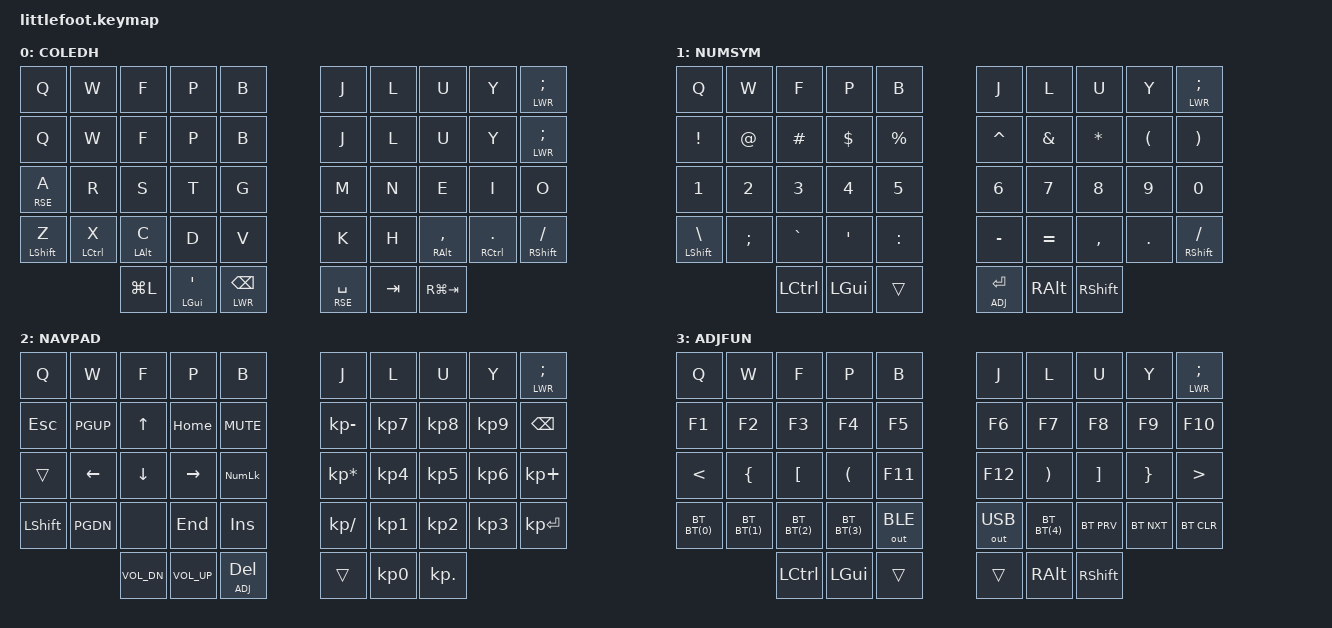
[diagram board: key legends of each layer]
#include <behaviors.dtsi>
#include <dt-bindings/zmk/keys.h>
#include <dt-bindings/zmk/bt.h>
#include <dt-bindings/zmk/outputs.h>

#define DEF 0
#define LWR 1
#define RSE 2
#define ADJ 3
#define SPEC 4

#define BT(n) BT_SEL n

// Using layer taps on thumbs, having quick tap as well helps w/ repeating space/backspace
&lt { quick_tap_ms = <200>; };

/ {
  behaviors {
        hm: homerow_mods {
            compatible = "zmk,behavior-hold-tap";
            label = "homerow mods";
            #binding-cells = <2>;
            tapping-term-ms = <200>;
            flavor = "tap-preferred";
            bindings = <&kp>, <&kp>;
        };
  };

  chosen {
    zmk,matrix_transform = &default_transform;
  };
};

/ {
        keymap {
                compatible = "zmk,keymap";

                default_layer {
                        label = "COLEDH";
// -----------------------------------------------------------------------------------------
// |  Q  |  W  |  F  |  P  |  B  |    |  J  |  L  |  U  |  Y  |LOW-;|
// |RSE-A|  R  |  S  |  T  |  G  |    |  M  |  N  |  E  |  I  |  O  |
// |SFT-Z|CTL-X|ALT-C|  D  |  V  |    |  K  |  H  |ALT-,|CTL-.|SFT-/|
//             | LOCK|GUI-'| LOW-BS||RSE-SP | TAB |G-TAB|
                        bindings = <
    &kp Q          &kp W          &kp F          &kp P          &kp B                    &kp J          &kp L          &kp U          &kp Y          &lt LWR SEMI
    &kp Q          &kp W          &kp F          &kp P          &kp B                    &kp J          &kp L          &kp U          &kp Y          &lt LWR SEMI
    &lt RSE A      &kp R          &kp S          &kp T          &kp G                    &kp M          &kp N          &kp E          &kp I          &kp O
    &hm LSHFT Z    &hm LCTRL X    &hm LALT C     &kp D          &kp V                    &kp K          &kp H          &hm RALT COMMA &hm RCTRL DOT  &hm RSHFT FSLH
                                  &kp LG(L)      &hm LGUI SQT   &lt LWR BSPC             &lt RSE SPACE  &kp TAB        &kp RG(TAB)
                        >;
                };

                lower_layer {
                        label = "NUMSYM";
// -----------------------------------------------------------------------------------------
// |  !  |  @  |  #  |  $  |  %  |    |  ^  |  &  |  *  |  (  |  )  |
// |  1  |  2  |  3  |  4  |  5  |    |  6  |  7  |  8  |  9  |  0  |
// |SFT-\| ; : | ` ~ | ' " |  :  |    | - _ | = + |  ,  |  .  |SFT-/|
//             |BRI_-|BRI_+|       ||ADJ-ENT|     |     |
                        bindings = <
    &kp Q          &kp W          &kp F          &kp P          &kp B                    &kp J          &kp L          &kp U          &kp Y          &lt LWR SEMI
    &kp EXCL       &kp AT         &kp HASH       &kp DLLR       &kp PRCNT                &kp CARET      &kp AMPS       &kp STAR       &kp LPAR       &kp RPAR
    &kp N1         &kp N2         &kp N3         &kp N4         &kp N5                   &kp N6         &kp N7         &kp N8         &kp N9         &kp N0
    &hm LSHFT BSLH &kp SEMI       &kp GRAVE      &kp SQT        &kp COLON                &kp MINUS      &kp EQUAL      &kp COMMA      &kp DOT        &hm RSHFT FSLH
                                  &kp LCTRL      &kp LGUI       &trans                   &lt ADJ RET    &kp RALT       &kp RSHFT
                        >;
                };

                raise_layer {
                        label = "NAVPAD";
// -----------------------------------------------------------------------------------------
// | ESC | PGUP|  UP | HOME| MUTE|    | KP- | KP7 | KP8 | KP9 | BKSP|
// |     | LEFT| DOWN|RIGHT|NUMLK|    | KP* | KP4 | KP5 | KP6 | KP_+|
// |SHIFT| PGDN|     | END |     |    | KP/ | KP1 | KP2 | KP3 |KPENT|
//             |VOL_-|VOL_+|ADJ-DEL||       | KP0 |KPDOT|
                        bindings = <
    &kp Q          &kp W          &kp F          &kp P          &kp B                    &kp J          &kp L          &kp U          &kp Y          &lt LWR SEMI
   &kp ESC         &kp PGUP       &kp UP         &kp HOME       &kp C_MUTE              &kp KP_MINUS    &kp KP_N7      &kp KP_N8      &kp KP_N9       &kp BSPC
   &trans          &kp LEFT       &kp DOWN       &kp RIGHT      &kp KP_NUM              &kp KP_ASTERISK &kp KP_N4      &kp KP_N5      &kp KP_N6       &kp KP_PLUS
   &kp LSHFT       &kp PGDN       &none          &kp END        &kp INS                 &kp KP_DIVIDE   &kp KP_N1      &kp KP_N2      &kp KP_N3       &kp KP_ENTER
                    	          &kp C_VOL_DN   &kp C_VOL_UP   &lt ADJ DEL             &trans          &kp KP_N0      &kp KP_DOT
                        >;
                };

                adjust_layer {
                        label = "ADJFUN";
// -----------------------------------------------------------------------------------------
// | F1  | F2  | F3  | F4  | F5  |    | F6  | F7  | F8  | F9  | F10 |
// |  <  |  {  |  [  |  (  | F11 |    | F12 |  )  |  ]  |  }  |  >  |
// | BT0 | BT1 | BT2 | BT3 | BLE |    | USB | BT4 |BTPRV|BTNXT|BTCLR|
//             | CTRL| GUI |       ||       | ALT |SHIFT|
                        bindings = <
    &kp Q          &kp W          &kp F          &kp P          &kp B                    &kp J          &kp L          &kp U          &kp Y          &lt LWR SEMI
    &kp F1         &kp F2         &kp F3         &kp F4         &kp F5                   &kp F6         &kp F7         &kp F8         &kp F9         &kp F10
    &kp LT         &kp LBRC       &kp LBKT       &kp LPAR       &kp F11                  &kp F12        &kp RPAR       &kp RBKT       &kp RBRC       &kp GT
    &bt BT(0)      &bt BT(1)      &bt BT(2)      &bt BT(3)      &out OUT_BLE             &out OUT_USB   &bt BT(4)      &bt BT_PRV     &bt BT_NXT     &bt BT_CLR
                                  &kp LCTRL      &kp LGUI       &trans                   &trans         &kp RALT       &kp RSHFT
                        >;
                };
        };
};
